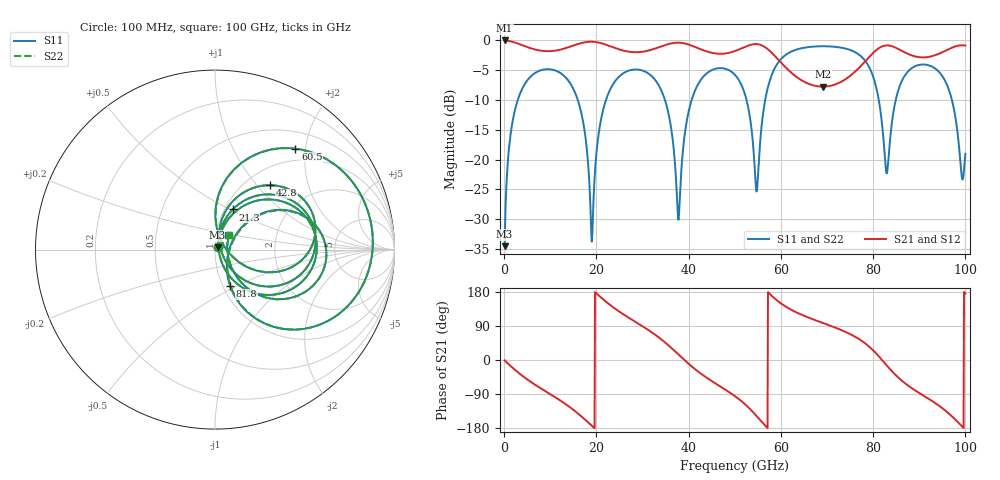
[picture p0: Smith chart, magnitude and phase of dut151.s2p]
! Touchstone file exported from HFSS 2026.1.0
!  File:  C:/ffzhzh/LocalFiles/Ansys_Project_Files/temp_test_TSV_RDL_151_1783464121_28540.aedt
!  Generated:  06:52:56 AM Jul  8, 2026
!  Design:  TSV_RDL
!  Project:  temp_test_TSV_RDL_151_1783464121_28540
! Variables:
!  h_bsmrdl = 2.77um
!  h_ox = 20um
!  h_rdl = 5um
!  h_sub = 80.04um
!  h_tmrdl = 4.22um
!  h_tsv = 80.04um
!  h_via = 3um
!  l_bsmrdl = 330.68um
!  l_sub = 3002.08um
!  l_tmrdl = 368.1um
!  m_sub = 200um
!  pitch = 55.74um
!  r_tsv = 6.17um
!  s_tmrdl = 10um
!  w_bsmrdl = 29.09um
!  w_sub = 500um
!  w_tmrdl = 16.79um
!  x_tsv_center1 = 376.495um
!  x_tsv_center2 = 736.265um
!  x_tsv_center3 = 1121.155um
!  x_tsv_center4 = 1480.925um
!  x_tsv_center5 = 1865.815um
!  x_tsv_center6 = 2225.585um
# GHz S MA R 50.000000
! Terminal data exported
! Port[1] = TM_RDL1_1_T1
! Port[2] = TM_RDL5_1_T1
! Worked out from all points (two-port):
!   1000 points, 100 MHz to 100 GHz, reference 50 ohm
!   highest |S21| = -0.12 dB at 100 MHz (marker M1); lowest = -7.8 dB at 69.1 GHz (marker M2)
!   |S21| within 3 dB of the highest: start of sweep to 59.19 GHz; 78.85 GHz to end of sweep
!   lowest |S11| = -34.5 dB at 100 MHz (marker M3), VSWR 1.04, Z = 51.4 + j1.26 ohm
!   |S11| at or under -10 dB: 15.93 GHz to 22.1 GHz (6.166 GHz wide, 32.4 % of centre); 34.83 GHz to 40.67 GHz (5.838 GHz wide, 15.5 % of centre); 52.53 GHz to 56.61 GHz (4.082 GHz wide, 7.48 % of centre) (the widest 3 of 6)
!   |S22| runs from -34.5 to -1.1 dB; largest |S21 - S12| = 1.1e-12
!   S11 on the Smith chart (normalised r, x): 100 MHz: 1.03, +0.03; 21.3 GHz: 1.09, +0.52; 42.8 GHz: 1.27, +1.17; 60.5 GHz: 0.78, +1.81; 81.8 GHz: 1.08, -0.46; 100 GHz: 1.14, +0.19
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0.1  0.01892 40.4  0.9858 -1.2  0.9858 -1.2  0.01892 40.4
! Gamma 0 0 0 0
! Port Impedance 50 0 50 0
1.6  0.1838 66.5  0.965 -17.9  0.965 -17.9  0.1838 66.5
4.8  0.4455 38.0  0.8743 -49.4  0.8743 -49.4  0.4455 38.0
10.5  0.5619 -5.1  0.8059 -94.0  0.8059 -94.0  0.5619 -5.1
16.8  0.2378 -56.2  0.9393 -149.3  0.9393 -149.3  0.2378 -56.1
19  0.02066 2.7  0.9621 -173.3  0.9621 -173.3  0.02108 2.9
21.3  0.2447 66.2  0.9286 161.8  0.9286 161.8  0.2448 66.1
33.4  0.4236 -27.4  0.8614 60.8  0.8614 60.8  0.4236 -27.3
37.8  0.03142 17.7  0.9444 14.5  0.9444 14.5  0.03212 17.7
42.8  0.4714 49.6  0.8271 -37.3  0.8271 -37.3  0.4715 49.5
50.1  0.5061 -4.0  0.8057 -95.8  0.8057 -95.8  0.5062 -4.0
54.7  0.05398 25.1  0.9196 -147.4  0.9196 -147.4  0.0554 25.2
57  0.3741 82.5  0.8428 -178.3  0.8428 -178.3  0.3744 82.2
60.5  0.719 51.5  0.6166 145.3  0.6166 145.3  0.7192 51.4
66.7  0.8736 17.5  0.4193 108.6  0.4193 108.6  0.8738 17.4
69.1  0.8819 7.4  0.4058 97.7  0.4058 97.7  0.882 7.3
78.1  0.6799 -40.0  0.6492 45.5  0.6492 45.5  0.6802 -39.9
81.8  0.2191 -67.4  0.8745 1.8  0.8745 1.8  0.2202 -66.7
83.4  0.1105 27.1  0.8945 -20.7  0.8945 -20.7  0.1128 25.8
86  0.433 30.8  0.8153 -52.4  0.8153 -52.4  0.4335 30.3
91.2  0.6204 -6.1  0.7125 -96.1  0.7125 -96.1  0.6206 -6.3
100  0.1117 48.1  0.8938 175.7  0.8938 175.7  0.1128 47.2
